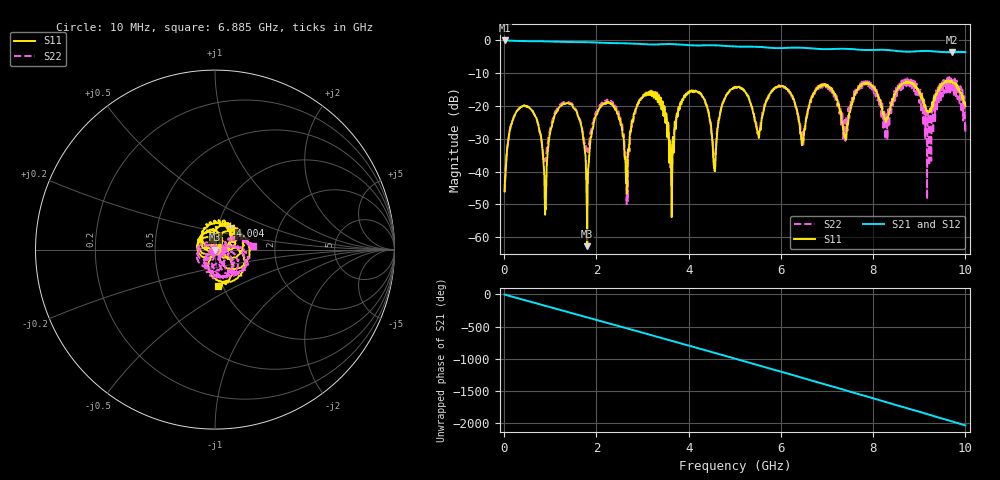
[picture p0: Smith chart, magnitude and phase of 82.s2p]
!Keysight Technologies,E5080B,MY59205177,A.15.75.32
!Date: Friday, February 23, 2024 03:33:45
!Correction: S11(Cdelta 2-Port  )
!S21(Cdelta 2-Port  )
!S12(Cdelta 2-Port  )
!S22(Cdelta 2-Port  )
!S2P File: Measurements: S11, S21, S12, S22:
# Hz S  dB  R 50
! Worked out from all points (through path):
!   10001 points, 10 MHz to 10 GHz, reference 50 ohm
!   highest |S21| = -0.01 dB at 10 MHz (marker M1); lowest = -3.7 dB at 9.701 GHz (marker M2)
!   group delay of S21, straight-line fit = 565 ps
!   lowest |S11| = -62.7 dB at 1.8 GHz (marker M3), VSWR 1.00, Z = 50 - j0.0648 ohm
!   |S11| at or under -10 dB: start of sweep to end of sweep
!   |S22| runs from -50.0 to -11.2 dB; largest |S21 - S12| = 0.0015
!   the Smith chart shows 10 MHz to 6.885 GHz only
!   S11 on the Smith chart (normalised r, x): 10 MHz: 1.01, -0.00; 4.004 GHz: 1.14, +0.31; 6.885 GHz: 0.95, -0.40
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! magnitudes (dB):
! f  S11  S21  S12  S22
! 10 MHz  -46.0  0.0  0.0  -45.9
! 373.6 MHz  -20.2  -0.2  -0.2  -20.1
! 888.1 MHz  -52.5  -0.3  -0.3  -36.7
! 1.178 GHz  -20.7  -0.4  -0.4  -20.2
! 1.675 GHz  -26.1  -0.5  -0.5  -25.5
! 1.8 GHz  -62.7  -0.5  -0.5  -33.1
! 2.109 GHz  -19.9  -0.7  -0.7  -19.0
! 2.662 GHz  -46.2  -0.9  -0.9  -43.7
! 2.907 GHz  -19.3  -1.0  -1.1  -18.8
! 3.341 GHz  -17.4  -1.2  -1.2  -17.7
! 3.627 GHz  -47.2  -1.1  -1.1  -42.1
! 4.004 GHz  -16.1  -1.4  -1.4  -15.8
! 4.561 GHz  -39.5  -1.5  -1.5  -38.5
! 5.005 GHz  -14.2  -1.9  -1.9  -14.5
! 5.517 GHz  -29.5  -2.0  -2.0  -28.5
! 6.67 GHz  -17.3  -2.4  -2.4  -16.9
! 6.885 GHz  -13.8  -2.6  -2.6  -13.5
! 7.385 GHz  -29.6  -2.6  -2.6  -26.1
! 7.796 GHz  -13.1  -2.9  -2.9  -12.9
! 8.336 GHz  -22.7  -3.0  -3.0  -20.9
! 9.701 GHz  -12.2  -3.7  -3.7  -13.8
! 10 GHz  -20.0  -3.6  -3.6  -25.6
